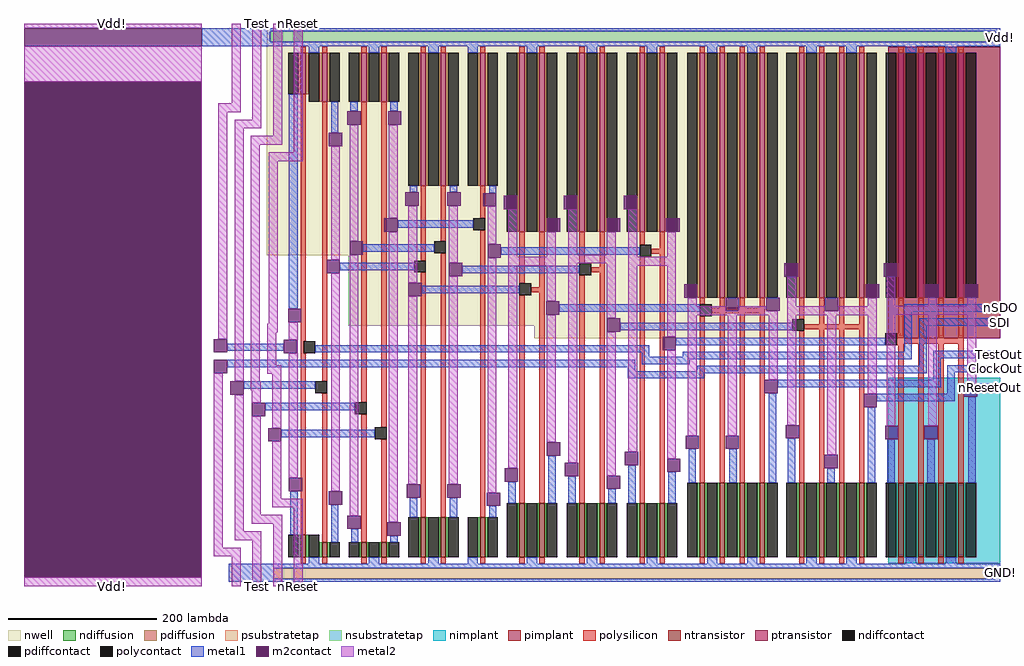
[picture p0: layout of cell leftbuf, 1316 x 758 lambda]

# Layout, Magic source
magic
tech c35b4
<< pimplant >>
rect 1165 334 1316 727
<< nimplant >>
rect 1165 31 1316 281
<< nwell >>
rect 327 446 1316 752
rect 437 351 1316 446
rect 688 334 1316 351
<< polysilicon >>
rect 373 719 380 727
rect 402 719 409 727
rect 455 719 462 727
rect 482 719 489 727
rect 535 719 542 727
rect 562 719 569 727
rect 615 719 622 727
rect 668 719 675 727
rect 695 719 702 727
rect 749 719 756 727
rect 776 719 783 727
rect 830 719 837 727
rect 857 719 864 727
rect 911 719 918 727
rect 938 719 945 727
rect 965 719 972 727
rect 992 719 999 727
rect 1045 719 1052 727
rect 1072 719 1079 727
rect 1099 719 1106 727
rect 1126 719 1133 727
rect 1179 719 1186 727
rect 1206 719 1213 727
rect 1233 719 1240 727
rect 1260 719 1267 727
rect 373 330 380 663
rect 373 314 377 330
rect 373 69 380 314
rect 402 276 409 653
rect 402 59 409 260
rect 455 248 462 653
rect 455 59 462 232
rect 482 214 489 653
rect 535 439 542 540
rect 562 465 569 540
rect 615 496 622 540
rect 482 59 489 198
rect 535 93 542 423
rect 562 93 569 449
rect 615 93 622 480
rect 668 408 675 478
rect 695 403 702 478
rect 684 396 702 403
rect 668 112 675 392
rect 695 112 702 396
rect 749 435 756 478
rect 776 430 783 478
rect 765 423 783 430
rect 749 112 756 419
rect 776 112 783 423
rect 830 460 837 478
rect 857 455 864 478
rect 846 448 864 455
rect 830 112 837 444
rect 857 112 864 448
rect 911 380 918 389
rect 938 375 945 389
rect 965 375 972 389
rect 992 375 999 389
rect 927 368 999 375
rect 911 139 918 364
rect 938 139 945 368
rect 965 139 972 368
rect 992 139 999 368
rect 1045 360 1052 389
rect 1072 353 1079 389
rect 1099 353 1106 389
rect 1126 353 1133 389
rect 1052 346 1133 353
rect 1045 139 1052 344
rect 1072 139 1079 346
rect 1099 139 1106 346
rect 1126 139 1133 346
rect 1179 341 1186 389
rect 1177 334 1186 341
rect 1206 334 1213 389
rect 1233 334 1240 389
rect 1260 334 1267 389
rect 1177 327 1267 334
rect 1177 325 1186 327
rect 1179 139 1186 325
rect 1206 139 1213 327
rect 1233 139 1240 327
rect 1260 139 1267 327
rect 373 31 380 39
rect 402 31 409 39
rect 455 31 462 39
rect 482 31 489 39
rect 535 31 542 39
rect 562 31 569 39
rect 615 31 622 39
rect 668 31 675 39
rect 695 31 702 39
rect 749 31 756 39
rect 776 31 783 39
rect 830 31 837 39
rect 857 31 864 39
rect 911 31 918 39
rect 938 31 945 39
rect 965 31 972 39
rect 992 31 999 39
rect 1045 31 1052 39
rect 1072 31 1079 39
rect 1099 31 1106 39
rect 1126 31 1133 39
rect 1179 31 1186 39
rect 1206 31 1213 39
rect 1233 31 1240 39
rect 1260 31 1267 39
<< ndiffusion >>
rect 370 39 373 69
rect 380 39 384 69
rect 398 39 402 59
rect 409 39 412 59
rect 452 39 455 59
rect 462 39 465 59
rect 479 39 482 59
rect 489 39 492 59
rect 532 39 535 93
rect 542 39 545 93
rect 559 39 562 93
rect 569 39 572 93
rect 612 39 615 93
rect 622 39 625 93
rect 665 39 668 112
rect 675 39 678 112
rect 692 39 695 112
rect 702 39 705 112
rect 746 39 749 112
rect 756 39 759 112
rect 773 39 776 112
rect 783 39 786 112
rect 827 39 830 112
rect 837 39 840 112
rect 854 39 857 112
rect 864 39 867 112
rect 908 39 911 139
rect 918 39 921 139
rect 935 39 938 139
rect 945 39 948 139
rect 962 39 965 139
rect 972 39 975 139
rect 989 39 992 139
rect 999 39 1002 139
rect 1042 39 1045 139
rect 1052 39 1055 139
rect 1069 39 1072 139
rect 1079 39 1082 139
rect 1096 39 1099 139
rect 1106 39 1109 139
rect 1123 39 1126 139
rect 1133 39 1136 139
rect 1176 39 1179 139
rect 1186 39 1189 139
rect 1203 39 1206 139
rect 1213 39 1216 139
rect 1230 39 1233 139
rect 1240 39 1243 139
rect 1257 39 1260 139
rect 1267 39 1270 139
<< pdiffusion >>
rect 370 663 373 719
rect 380 663 384 719
rect 398 653 402 719
rect 409 653 412 719
rect 452 653 455 719
rect 462 653 465 719
rect 479 653 482 719
rect 489 653 492 719
rect 532 540 535 719
rect 542 540 545 719
rect 559 540 562 719
rect 569 540 572 719
rect 612 540 615 719
rect 622 540 625 719
rect 665 478 668 719
rect 675 478 678 719
rect 692 478 695 719
rect 702 478 705 719
rect 746 478 749 719
rect 756 478 759 719
rect 773 478 776 719
rect 783 478 786 719
rect 827 478 830 719
rect 837 478 840 719
rect 854 478 857 719
rect 864 478 867 719
rect 908 389 911 719
rect 918 389 921 719
rect 935 389 938 719
rect 945 389 948 719
rect 962 389 965 719
rect 972 389 975 719
rect 989 389 992 719
rect 999 389 1002 719
rect 1042 389 1045 719
rect 1052 389 1055 719
rect 1069 389 1072 719
rect 1079 389 1082 719
rect 1096 389 1099 719
rect 1106 389 1109 719
rect 1123 389 1126 719
rect 1133 389 1136 719
rect 1176 389 1179 719
rect 1186 389 1189 719
rect 1203 389 1206 719
rect 1213 389 1216 719
rect 1230 389 1233 719
rect 1240 389 1243 719
rect 1257 389 1260 719
rect 1267 389 1270 719
<< ntransistor >>
rect 373 39 380 69
rect 402 39 409 59
rect 455 39 462 59
rect 482 39 489 59
rect 535 39 542 93
rect 562 39 569 93
rect 615 39 622 93
rect 668 39 675 112
rect 695 39 702 112
rect 749 39 756 112
rect 776 39 783 112
rect 830 39 837 112
rect 857 39 864 112
rect 911 39 918 139
rect 938 39 945 139
rect 965 39 972 139
rect 992 39 999 139
rect 1045 39 1052 139
rect 1072 39 1079 139
rect 1099 39 1106 139
rect 1126 39 1133 139
rect 1179 39 1186 139
rect 1206 39 1213 139
rect 1233 39 1240 139
rect 1260 39 1267 139
<< ptransistor >>
rect 373 663 380 719
rect 402 653 409 719
rect 455 653 462 719
rect 482 653 489 719
rect 535 540 542 719
rect 562 540 569 719
rect 615 540 622 719
rect 668 478 675 719
rect 695 478 702 719
rect 749 478 756 719
rect 776 478 783 719
rect 830 478 837 719
rect 857 478 864 719
rect 911 389 918 719
rect 938 389 945 719
rect 965 389 972 719
rect 992 389 999 719
rect 1045 389 1052 719
rect 1072 389 1079 719
rect 1099 389 1106 719
rect 1126 389 1133 719
rect 1179 389 1186 719
rect 1206 389 1213 719
rect 1233 389 1240 719
rect 1260 389 1267 719
<< polycontact >>
rect 0 12 239 680
rect 377 314 393 330
rect 393 260 409 276
rect 446 232 462 248
rect 606 480 622 496
rect 553 449 569 465
rect 526 423 542 439
rect 473 198 489 214
rect 668 392 684 408
rect 749 419 765 435
rect 830 444 846 460
rect 911 364 927 380
rect 1036 344 1052 360
rect 1161 325 1177 341
<< ndiffcontact >>
rect 356 39 370 69
rect 384 39 398 69
rect 412 39 426 59
rect 438 39 452 59
rect 465 39 479 59
rect 492 39 506 59
rect 518 39 532 93
rect 545 39 559 93
rect 572 39 586 93
rect 598 39 612 93
rect 625 39 639 93
rect 651 39 665 112
rect 678 39 692 112
rect 705 39 719 112
rect 732 39 746 112
rect 759 39 773 112
rect 786 39 800 112
rect 813 39 827 112
rect 840 39 854 112
rect 867 39 881 112
rect 894 39 908 139
rect 921 39 935 139
rect 948 39 962 139
rect 975 39 989 139
rect 1002 39 1016 139
rect 1028 39 1042 139
rect 1055 39 1069 139
rect 1082 39 1096 139
rect 1109 39 1123 139
rect 1136 39 1150 139
rect 1162 39 1176 139
rect 1189 39 1203 139
rect 1216 39 1230 139
rect 1243 39 1257 139
rect 1270 39 1284 139
<< pdiffcontact >>
rect 356 663 370 719
rect 384 653 398 719
rect 412 653 426 719
rect 438 653 452 719
rect 465 653 479 719
rect 492 653 506 719
rect 518 540 532 719
rect 545 540 559 719
rect 572 540 586 719
rect 598 540 612 719
rect 625 540 639 719
rect 651 478 665 719
rect 678 478 692 719
rect 705 478 719 719
rect 732 478 746 719
rect 759 478 773 719
rect 786 478 800 719
rect 813 478 827 719
rect 840 478 854 719
rect 867 478 881 719
rect 894 389 908 719
rect 921 389 935 719
rect 948 389 962 719
rect 975 389 989 719
rect 1002 389 1016 719
rect 1028 389 1042 719
rect 1055 389 1069 719
rect 1082 389 1096 719
rect 1109 389 1123 719
rect 1136 389 1150 719
rect 1162 389 1176 719
rect 1189 389 1203 719
rect 1216 389 1230 719
rect 1243 389 1257 719
rect 1270 389 1284 719
<< psubstratetap >>
rect 337 10 1310 24
<< nsubstratetap >>
rect 332 734 1310 748
<< metal1 >>
rect 240 748 1316 752
rect 240 734 332 748
rect 1310 734 1316 748
rect 240 728 1316 734
rect 384 719 398 728
rect 465 719 479 728
rect 545 719 559 728
rect 598 719 612 728
rect 678 719 692 728
rect 759 719 773 728
rect 840 719 854 728
rect 921 719 935 728
rect 975 719 989 728
rect 1055 719 1069 728
rect 1109 719 1123 728
rect 1189 719 1203 728
rect 1243 719 1257 728
rect 357 374 369 663
rect 414 611 424 653
rect 440 640 450 653
rect 494 640 504 653
rect 520 531 530 540
rect 574 531 584 540
rect 627 530 637 540
rect 504 483 606 493
rect 457 451 553 461
rect 643 447 830 457
rect 426 426 526 436
rect 591 422 749 432
rect 536 395 668 405
rect 722 370 911 380
rect 1187 370 1316 380
rect 804 345 1036 355
rect 274 317 350 327
rect 393 315 843 325
rect 879 325 1161 335
rect 1187 316 1197 370
rect 833 309 843 315
rect 888 309 1197 316
rect 833 306 1197 309
rect 1207 351 1316 361
rect 274 295 824 305
rect 833 299 898 306
rect 1207 297 1217 351
rect 814 290 824 295
rect 907 290 1217 297
rect 814 287 1217 290
rect 1226 307 1316 317
rect 814 280 917 287
rect 1226 278 1236 307
rect 296 266 393 276
rect 1016 268 1236 278
rect 1245 288 1316 298
rect 325 237 446 247
rect 347 201 473 211
rect 359 69 369 128
rect 414 59 424 110
rect 520 93 530 119
rect 574 93 584 119
rect 653 112 663 141
rect 707 112 717 176
rect 734 112 744 148
rect 788 112 798 131
rect 815 112 825 163
rect 869 112 879 154
rect 896 139 906 185
rect 951 139 961 185
rect 1004 139 1014 260
rect 1245 259 1255 288
rect 1150 249 1255 259
rect 1285 263 1316 273
rect 1030 139 1040 199
rect 1083 139 1093 159
rect 1138 139 1148 241
rect 1164 139 1174 198
rect 1218 139 1228 198
rect 1273 139 1283 255
rect 627 93 637 108
rect 441 59 451 77
rect 494 59 504 68
rect 384 30 398 39
rect 465 30 479 39
rect 545 30 559 39
rect 598 30 612 39
rect 678 30 692 39
rect 759 30 773 39
rect 840 30 854 39
rect 921 30 935 39
rect 975 30 989 39
rect 1055 30 1069 39
rect 1109 30 1123 39
rect 1189 30 1203 39
rect 1243 30 1257 39
rect 276 24 1316 30
rect 276 10 337 24
rect 1310 10 1316 24
rect 276 6 1316 10
<< m2contact >>
rect 0 728 240 752
rect 0 12 239 680
rect 436 622 454 640
rect 491 622 509 640
rect 411 593 429 611
rect 514 513 532 531
rect 571 513 589 531
rect 619 512 637 530
rect 647 508 651 526
rect 651 508 665 526
rect 486 478 504 496
rect 728 508 732 526
rect 732 508 746 526
rect 705 478 719 496
rect 719 478 723 496
rect 809 508 813 526
rect 813 508 827 526
rect 786 478 800 496
rect 800 478 804 496
rect 866 478 867 496
rect 867 478 881 496
rect 881 478 884 496
rect 439 447 457 465
rect 625 443 643 461
rect 408 422 426 440
rect 573 418 591 436
rect 518 391 536 409
rect 890 389 894 407
rect 894 389 908 407
rect 1025 417 1028 435
rect 1028 417 1042 435
rect 1042 417 1043 435
rect 1159 417 1162 435
rect 1162 417 1176 435
rect 1176 417 1177 435
rect 1135 389 1136 407
rect 1136 389 1150 407
rect 1150 389 1153 407
rect 1215 389 1216 407
rect 1216 389 1230 407
rect 1230 389 1233 407
rect 1269 389 1270 407
rect 1270 389 1284 407
rect 1284 389 1287 407
rect 356 356 374 374
rect 704 366 722 384
rect 946 371 964 389
rect 1001 371 1019 389
rect 1080 371 1098 389
rect 786 343 804 361
rect 256 315 274 333
rect 350 314 368 332
rect 861 318 879 336
rect 256 287 274 305
rect 278 258 296 276
rect 998 260 1016 278
rect 307 229 325 247
rect 329 195 347 213
rect 705 176 723 194
rect 892 185 910 203
rect 946 185 964 203
rect 357 128 375 146
rect 648 141 666 159
rect 411 110 429 128
rect 516 119 534 137
rect 571 119 589 137
rect 436 77 454 95
rect 624 108 642 126
rect 729 148 747 166
rect 810 163 828 181
rect 786 131 804 149
rect 867 154 885 172
rect 1132 241 1150 259
rect 1267 255 1285 273
rect 1027 199 1045 217
rect 1079 159 1097 177
rect 1161 198 1179 216
rect 1214 198 1232 216
rect 490 68 508 86
<< metal2 >>
rect 0 752 240 758
rect 0 680 240 728
rect 239 12 240 680
rect 280 651 292 758
rect 262 639 292 651
rect 262 333 274 639
rect 308 629 320 758
rect 284 617 320 629
rect 256 52 268 287
rect 284 276 296 617
rect 336 607 348 758
rect 306 595 348 607
rect 306 276 318 595
rect 364 585 376 758
rect 330 573 376 585
rect 330 354 342 573
rect 414 440 426 593
rect 328 342 342 354
rect 328 298 340 342
rect 357 332 369 356
rect 368 314 369 332
rect 328 286 347 298
rect 306 264 319 276
rect 284 74 296 258
rect 307 247 319 264
rect 307 96 319 229
rect 335 213 347 286
rect 335 118 347 195
rect 357 146 369 314
rect 414 128 426 422
rect 439 465 451 622
rect 492 496 504 622
rect 335 106 376 118
rect 307 84 348 96
rect 284 62 320 74
rect 256 40 292 52
rect 0 0 240 12
rect 280 0 292 40
rect 308 0 320 62
rect 336 0 348 84
rect 364 0 376 106
rect 439 95 451 447
rect 492 86 504 478
rect 518 409 530 513
rect 573 436 585 513
rect 625 461 637 512
rect 653 444 665 508
rect 705 444 717 478
rect 518 137 530 391
rect 573 137 585 418
rect 625 126 637 443
rect 653 432 717 444
rect 653 159 665 432
rect 705 384 717 432
rect 734 447 746 508
rect 786 447 798 478
rect 734 435 798 447
rect 705 194 717 366
rect 734 166 746 435
rect 786 361 798 435
rect 815 444 827 508
rect 867 444 879 478
rect 815 432 879 444
rect 786 149 798 343
rect 815 181 827 432
rect 867 336 879 432
rect 867 172 879 318
rect 895 377 907 389
rect 895 371 946 377
rect 964 371 1001 377
rect 1029 377 1041 417
rect 1029 371 1080 377
rect 1138 377 1150 389
rect 1098 371 1150 377
rect 895 365 1016 371
rect 895 203 907 365
rect 949 203 961 365
rect 1004 278 1016 365
rect 1029 365 1150 371
rect 1029 217 1041 365
rect 1083 177 1095 365
rect 1138 259 1150 365
rect 1163 378 1175 417
rect 1219 378 1231 389
rect 1272 378 1284 389
rect 1163 366 1284 378
rect 1163 216 1175 366
rect 1219 216 1231 366
rect 1272 273 1284 366
<< labels >>
rlabel metal1 1316 370 1316 380 7 nSDO
rlabel metal1 1316 6 1316 30 7 GND!
rlabel metal1 1316 728 1316 752 7 Vdd!
rlabel metal1 1316 351 1316 361 7 SDI
rlabel metal1 1316 263 1316 273 7 nResetOut
rlabel metal1 1316 288 1316 298 7 ClockOut
rlabel metal1 1316 307 1316 317 7 TestOut
rlabel metal2 364 758 376 758 5 nReset
rlabel metal2 336 758 348 758 5 Clock
rlabel metal2 308 758 320 758 5 Test
rlabel metal2 280 758 292 758 5 SDO
rlabel metal2 0 758 240 758 5 Vdd!
rlabel metal2 0 0 240 0 1 Vdd!
rlabel metal2 364 0 376 0 1 nReset
rlabel metal2 336 0 348 0 1 Clock
rlabel metal2 308 0 320 0 1 Test
rlabel metal2 280 0 292 0 1 SDI
<< end >>
